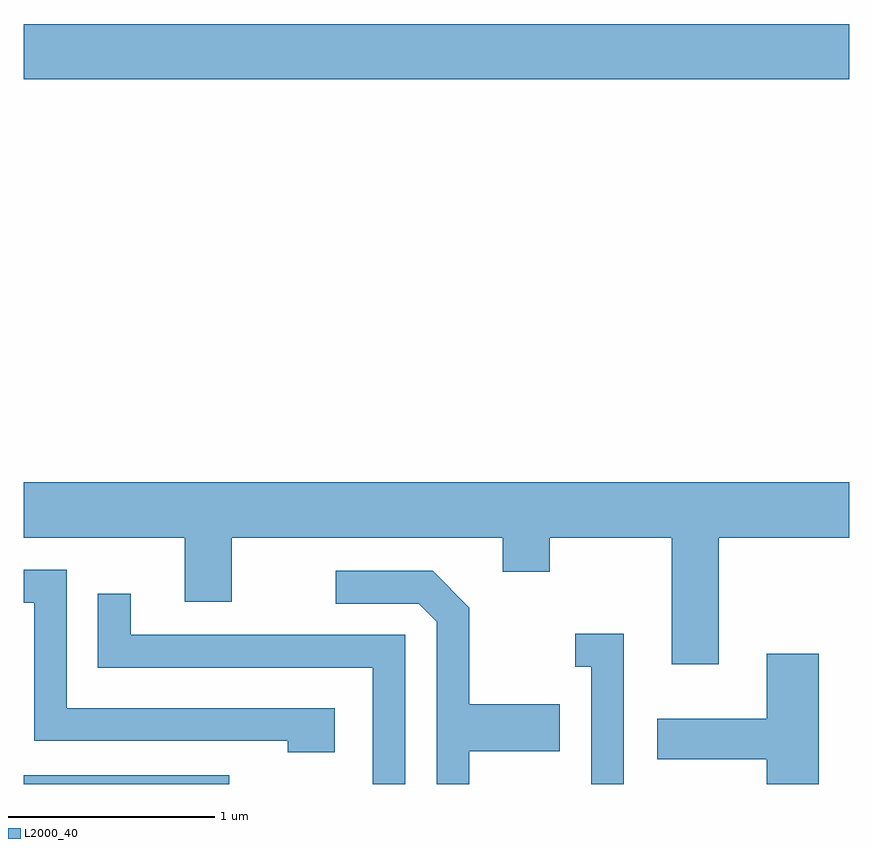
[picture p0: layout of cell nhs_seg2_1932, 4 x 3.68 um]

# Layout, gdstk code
import gdstk
lib = gdstk.Library(unit=1e-6, precision=1e-09)
def R(c, l, rs):  # rectangles x0, y0, x1, y1
    for r in rs: c.add(gdstk.rectangle(r[:2], r[2:], *l))
def P(c, l, *ps):  # polygons
    for p in ps: c.add(gdstk.Polygon(p, *l))
L2000_40 = (2000, 40)

nhs_seg2_1932 = lib.new_cell('nhs_seg2_1932')
R(nhs_seg2_1932, L2000_40, [(241.611,1033.802,242.608,1033.844), (241.611,1037.216,245.611,1037.484)])
P(nhs_seg2_1932, L2000_40, [(244.979,1034.996),(245.611,1034.996),(245.611,1035.264),(241.611,1035.264),(241.611,1034.996),(242.391,1034.996),(242.391,1034.686),(242.619,1034.686),(242.619,1034.996),(243.931,1034.996),(243.931,1034.831),(244.159,1034.831),(244.159,1034.996),(244.751,1034.996),(244.751,1034.381),(244.979,1034.381)],
  [(243.119,1034.169),(241.819,1034.169),(241.819,1034.839),(241.611,1034.839),(241.611,1034.681),(241.661,1034.681),(241.661,1034.011),(242.891,1034.011),(242.891,1033.956),(243.119,1033.956)],
  [(243.769,1033.961),(244.209,1033.961),(244.209,1034.189),(243.769,1034.189),(243.769,1034.657),(243.592,1034.834),(243.123,1034.834),(243.123,1034.676),(243.524,1034.676),(243.611,1034.589),(243.611,1033.802),(243.769,1033.802)],
  [(243.459,1034.524),(242.129,1034.524),(242.129,1034.723),(241.971,1034.723),(241.971,1034.366),(243.301,1034.366),(243.301,1033.802),(243.459,1033.802)],
  [(244.519,1034.529),(244.283,1034.529),(244.283,1034.371),(244.361,1034.371),(244.361,1033.802),(244.519,1033.802)],
  [(245.464,1034.434),(245.211,1034.434),(245.211,1034.119),(244.681,1034.119),(244.681,1033.921),(245.211,1033.921),(245.211,1033.802),(245.464,1033.802)])

lib.write_gds('nhs_seg2_1932.gds')
